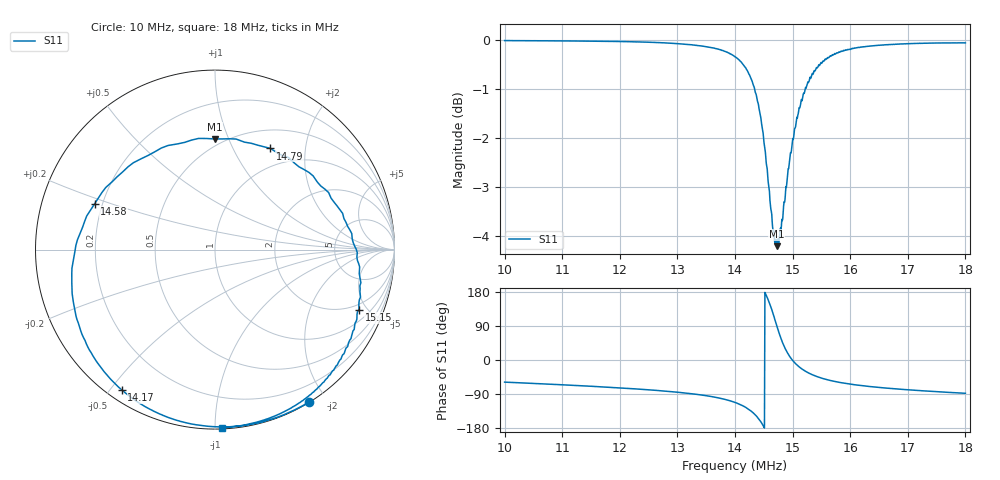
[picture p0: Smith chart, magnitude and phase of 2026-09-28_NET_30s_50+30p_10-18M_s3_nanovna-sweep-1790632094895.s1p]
! NanoVNA Web complex sweep
! Processing: unaveraged complex samples; linear segment spacing; no smoothing
# Hz S RI R 50
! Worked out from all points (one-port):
!   1010 points, 10 MHz to 18 MHz, reference 50 ohm
!   lowest |S11| = -4.2 dB at 14.73 MHz (marker M1), VSWR 4.21, Z = 22.4 + j44.6 ohm
!   |S11| at or under -10 dB: nowhere
!   S11 on the Smith chart (normalised r, x): 10 MHz: 0.00, -1.79; 14.17 MHz: 0.04, -0.53; 14.58 MHz: 0.17, +0.18; 14.79 MHz: 0.74, +1.42; 15.15 MHz: 1.61, -4.42; 18 MHz: 0.01, -1.04
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1e7  0.5231 -0.8497
1.100698e7  0.414 -0.907
1.200604e7  0.2797 -0.9553
1.300509e7  0.0851 -0.9868
1.359184e7  -0.1107 -0.975
1.400414e7  -0.3624 -0.8895
1.417065e7  -0.5202 -0.7807
1.428166e7  -0.6453 -0.6443
1.437681e7  -0.7477 -0.4533
1.448781e7  -0.797 -0.1038
1.452746e7  -0.7663 0.0548
1.457503e7  -0.671 0.2546
1.461468e7  -0.5444 0.4064
1.465432e7  -0.3722 0.5249
1.468604e7  -0.2088 0.5889
1.472568e7  -0.0011 0.6164
1.478912e7  0.3091 0.5636
1.483669e7  0.4963 0.446
1.488426e7  0.6332 0.3177
1.493977e7  0.73 0.1514
1.50032e7  0.7927 -0.0175
1.515385e7  0.8018 -0.3353
1.53045e7  0.7386 -0.5411
1.548687e7  0.6443 -0.6926
1.572474e7  0.5353 -0.8049
1.600225e7  0.4337 -0.8755
1.700131e7  0.1955 -0.9707
1.800036e7  0.0369 -0.9916
